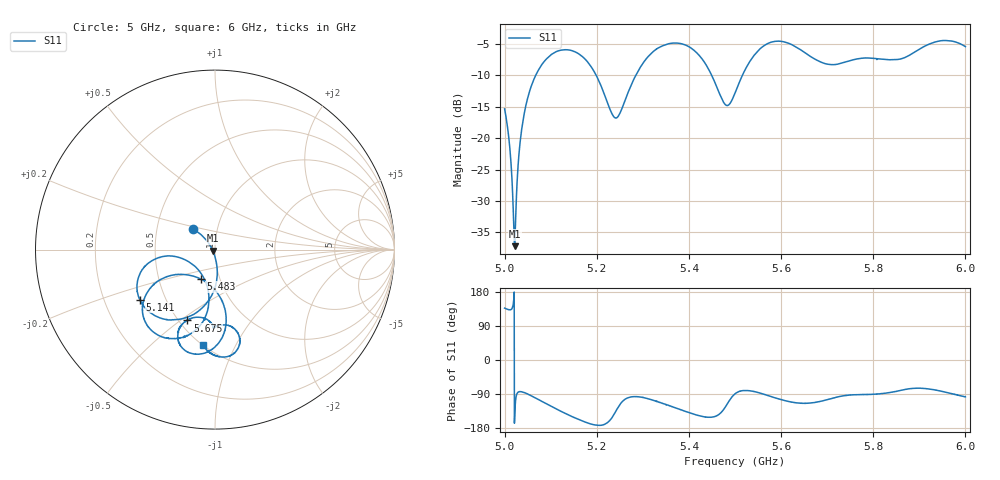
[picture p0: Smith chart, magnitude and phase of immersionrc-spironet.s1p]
# HZ S RI R 50
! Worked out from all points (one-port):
!   2020 points, 5 GHz to 6 GHz, reference 50 ohm
!   lowest |S11| = -37.2 dB at 5.022 GHz (marker M1), VSWR 1.03, Z = 48.8 - j0.647 ohm
!   |S11| at or under -10 dB: start of sweep to 5.067 GHz; 5.199 GHz to 5.285 GHz (85.67 MHz wide, 1.63 % of centre); 5.45 GHz to 5.516 GHz (66.39 MHz wide, 1.21 % of centre)
!   S11 on the Smith chart (normalised r, x): 5 GHz: 0.76, +0.18; 5.141 GHz: 0.36, -0.27; 5.483 GHz: 0.81, -0.27; 5.675 GHz: 0.55, -0.53; 6 GHz: 0.50, -0.75
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5e9  -0.1252 0.117
5.009906e9  -0.0637 0.0698
5.018326e9  -0.0242 0.0174
5.021793e9  -0.0121 -0.00662
5.024765e9  -0.00404 -0.0278
5.030213e9  0.00684 -0.0673
5.035661e9  0.0121 -0.1068
5.052997e9  -0.00625 -0.2285
5.088658e9  -0.1732 -0.3825
5.12531e9  -0.3704 -0.3432
5.141159e9  -0.4193 -0.2788
5.20208e9  -0.2972 -0.04
5.23477e9  -0.1309 -0.0779
5.250124e9  -0.0738 -0.1393
5.308073e9  -0.0842 -0.4241
5.341754e9  -0.2224 -0.4952
5.375434e9  -0.3543 -0.4497
5.423973e9  -0.3791 -0.2419
5.482913e9  -0.0808 -0.163
5.500248e9  0.00302 -0.2298
5.557207e9  0.0151 -0.5264
5.587915e9  -0.1039 -0.5826
5.625062e9  -0.2043 -0.5129
5.675087e9  -0.1536 -0.3948
5.750372e9  -0.0137 -0.4148
5.875186e9  0.1043 -0.4394
5.949481e9  0.0743 -0.5945
6.000001e9  -0.0661 -0.5325
